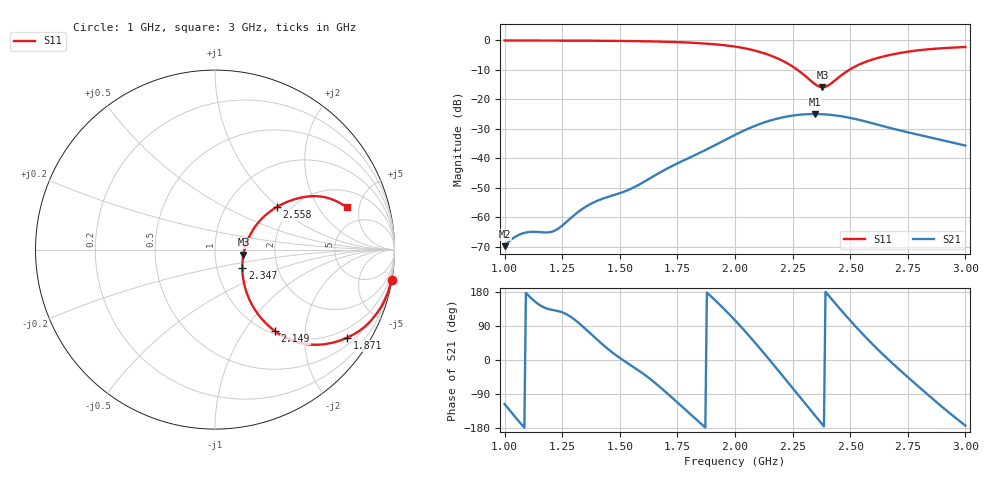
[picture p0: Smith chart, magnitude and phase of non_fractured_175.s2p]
! TOUCHSTONE file generated by CST MICROWAVE STUDIO
! Date and time: Sat Mar  8 13:55:13 2025
! Project name: non_fractured.cst
! Parameters = {B=2.5; D=160; F=5; Feed=2.85625; L=100; M=20; R=0.384908; S=2.5; Theta=180; length=57.125; wave=114.25}
! Header version: 2024
! Port assignment regex: !\s*Touchstone port\s*([0-9]+)\s*=\s*(CST MWS port|CST DES external port|CST DES block port)\s*(.+)\s* \(\"(.*)\"\)(\s*mode\s*([0-9]+))?.*
! Touchstone port assignment:
! Touchstone port 1 = CST MWS port 1 ("")
! Touchstone port 2 = CST MWS port 2 ("")
# GHz S DB R 50
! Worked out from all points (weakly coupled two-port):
!   304 points, 1 GHz to 3 GHz, reference 50 ohm
!   highest |S21| = -24.96 dB at 2.347 GHz (marker M1); lowest = -69.7 dB at 1 GHz (marker M2)
!   lowest |S11| = -15.9 dB at 2.38 GHz (marker M3), VSWR 1.38, Z = 68.6 - j4.1 ohm
!   |S11| at or under -10 dB: 2.272 GHz to 2.496 GHz (223.9 MHz wide, 9.39 % of centre)
!   S12 and S22 are empty: the file has one direction only
!   S11 on the Smith chart (normalised r, x): 1 GHz: 0, -12; 1.871 GHz: 0.70, -3.15; 2.149 GHz: 1.05, -1.40; 2.347 GHz: 1.33, -0.28; 2.558 GHz: 1.70, +0.98; 3 GHz: 3.23, +3.77
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1  -0.02 -9.8  -69.75 -116.2  -200.00 0.0  -200.00 0.0
1.0396  -0.02 -10.3  -66.88 -145.8  -200.00 0.0  -200.00 0.0
1.07921  -0.03 -10.8  -65.38 -174.0  -200.00 0.0  -200.00 0.0
1.21782  -0.05 -13.0  -64.47 130.9  -200.00 0.0  -200.00 0.0
1.33663  -0.09 -15.2  -57.17 89.9  -200.00 0.0  -200.00 0.0
1.40264  -0.12 -16.6  -54.35 53.2  -200.00 0.0  -200.00 0.0
1.54785  -0.23 -20.3  -50.32 -13.8  -200.00 0.0  -200.00 0.0
1.66667  -0.39 -24.2  -45.12 -67.3  -200.00 0.0  -200.00 0.0
1.87129  -1.07 -33.8  -37.18 -178.3  -200.00 0.0  -200.00 0.0
2.0033  -2.14 -42.7  -31.89 102.7  -200.00 0.0  -200.00 0.0
2.07591  -3.25 -48.5  -29.30 53.5  -200.00 0.0  -200.00 0.0
2.14851  -4.96 -53.6  -27.26 1.3  -200.00 0.0  -200.00 0.0
2.24752  -8.72 -56.1  -25.51 -72.3  -200.00 0.0  -200.00 0.0
2.33993  -14.39 -36.9  -24.96 -141.3  -200.00 0.0  -200.00 0.0
2.34653  -14.79 -33.4  -24.96 -146.2  -200.00 0.0  -200.00 0.0
2.37954  -15.87 -10.4  -25.03 -170.5  -200.00 0.0  -200.00 0.0
2.40594  -15.20 8.4  -25.17 170.3  -200.00 0.0  -200.00 0.0
2.47195  -11.24 31.2  -25.85 123.5  -200.00 0.0  -200.00 0.0
2.55776  -7.55 34.6  -27.30 66.2  -200.00 0.0  -200.00 0.0
2.66997  -4.97 31.0  -29.62 -1.2  -200.00 0.0  -200.00 0.0
2.82838  -3.09 23.9  -32.52 -87.0  -200.00 0.0  -200.00 0.0
3  -2.24 17.7  -35.64 -173.1  -200.00 0.0  -200.00 0.0
